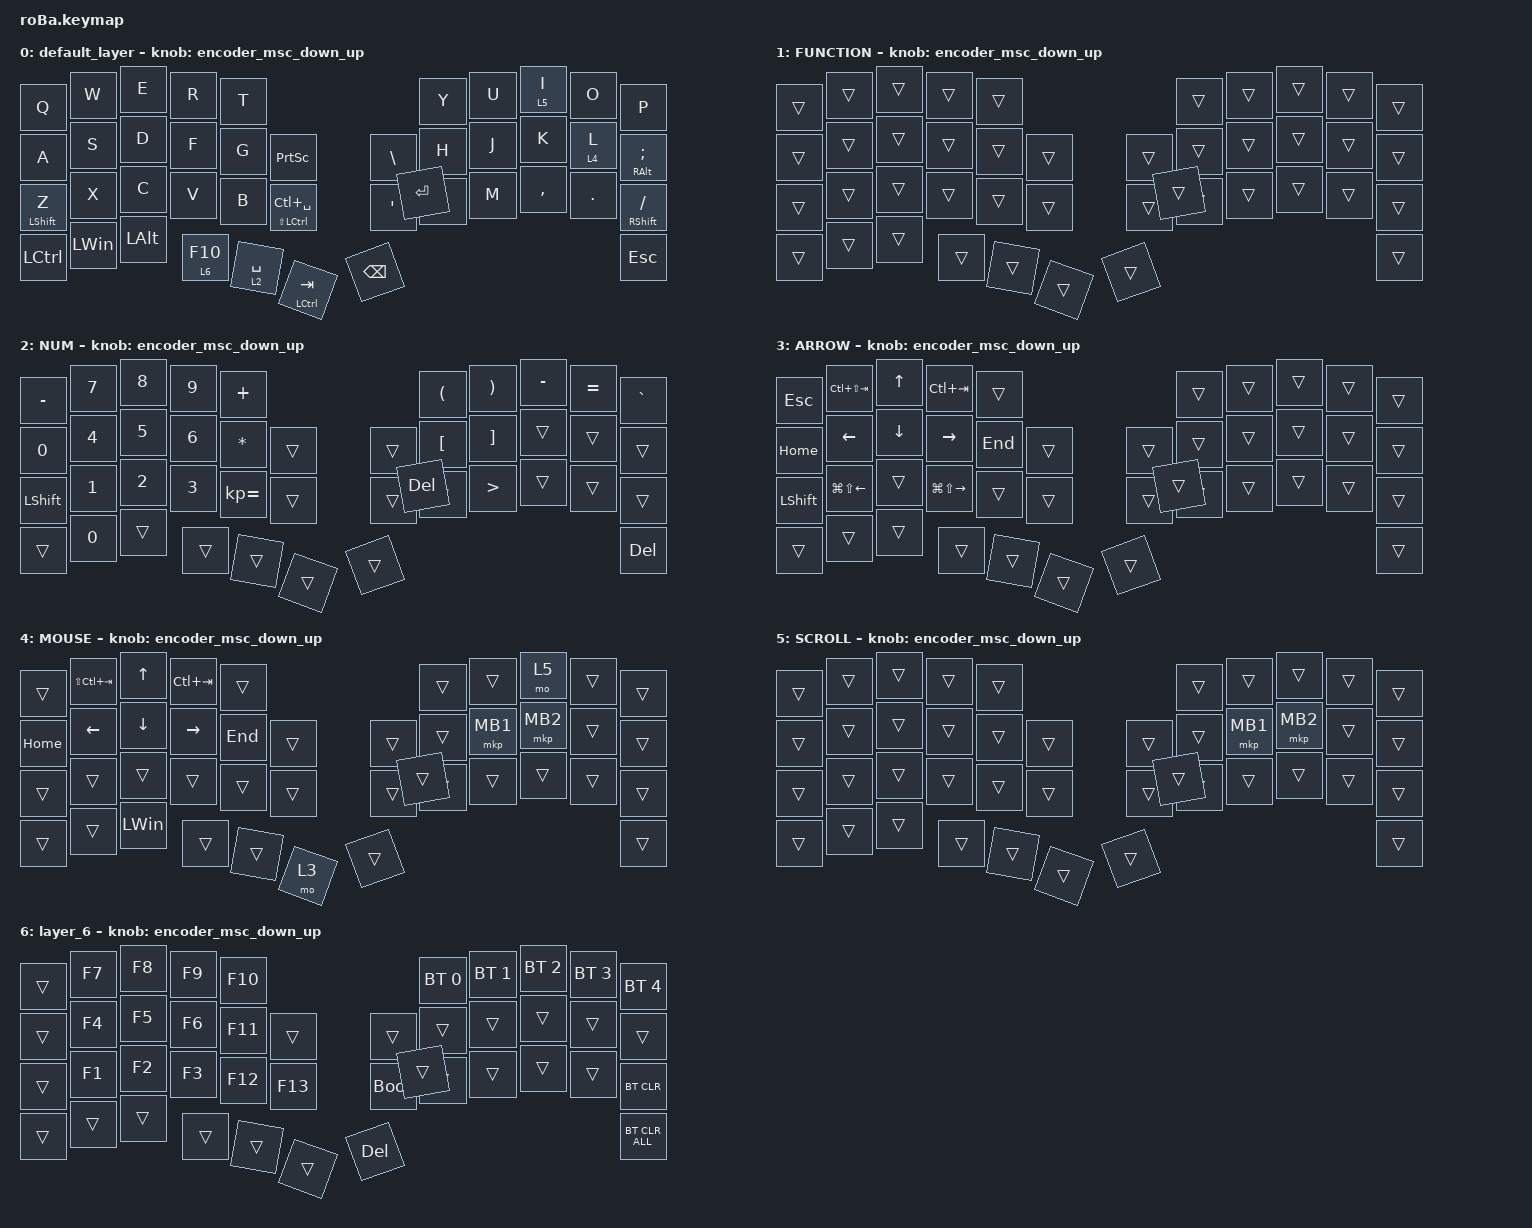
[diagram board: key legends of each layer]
#include <behaviors.dtsi>
#include <dt-bindings/zmk/bt.h>
#include <dt-bindings/zmk/keys.h>
#include <dt-bindings/zmk/pointing.h>


#define ZMK_POINTING_DEFAULT_SCRL_VAL 80

&mt {
    flavor = "balanced";
    quick-tap-ms = <0>;
};

&trackball {
    automouse-layer = <4>;
    scroll-layers = <5>;

    arrows {
        layers = <4>;
        bindings =
            <&kp RIGHT_ARROW>,
            <&kp LEFT_ARROW>,
            <&kp UP_ARROW>,
            <&kp DOWN_ARROW>;

        tick = <10>;
        wait-ms = <5>;
        tap-ms = <5>;
    };
};

/ {
    combos {
        compatible = "zmk,combos";

        combo_click: combo_click {
            timeout-ms = <50>;
            key-positions = <18 19>;
            bindings = <&mkp MB1>;
        };

        combo_rightclick: combo_rightclick {
            timeout-ms = <50>;
            key-positions = <19 20>;
            bindings = <&mkp MB2>;
        };
    };

    macros {
        to_layer_0: to_layer_0 {
            compatible = "zmk,behavior-macro-one-param";
            #binding-cells = <1>;
            bindings = <&to 0 &macro_param_1to1 &kp MACRO_PLACEHOLDER>;
            label = "TO_LAYER_0";
        };
    };

    behaviors {
        lt_to_layer_0: lt_to_layer_0 {
            compatible = "zmk,behavior-hold-tap";
            label = "LAYER_TAP_TO_0";
            bindings = <&mo>, <&to_layer_0>;

            #binding-cells = <2>;
            tapping-term-ms = <200>;
        };

        encoder_msc_down_up: encoder_msc_down_up {
            compatible = "zmk,behavior-sensor-rotate";
            label = "ENCODER_MSC_DOWN_UP";
            #sensor-binding-cells = <0>;
            bindings = <&msc SCRL_DOWN>, <&msc SCRL_UP>;

            tap-ms = <20>;
        };
    };

    keymap {
        compatible = "zmk,keymap";

        default_layer {
            bindings = <
&kp Q             &kp W         &kp E         &kp R      &kp T                                                       &kp Y      &kp U  &lt 5 I    &kp O    &kp P
&kp A             &kp S         &kp D         &kp F      &kp G        &kp PRINTSCREEN              &kp BACKSLASH     &kp H      &kp J  &kp K      &lt 4 L  &mt RIGHT_ALT SEMI
&mt LEFT_SHIFT Z  &kp X         &kp C         &kp V      &kp B        &mt LS(LCTRL) LC(SPACE)      &kp SINGLE_QUOTE  &kp N      &kp M  &kp COMMA  &kp DOT  &mt RSHIFT SLASH
&kp LCTRL         &kp LEFT_WIN  &kp LEFT_ALT  &lt 6 F10  &lt 2 SPACE  &mt LCTRL TAB                &kp BACKSPACE     &kp ENTER                             &kp ESCAPE
            >;

            sensor-bindings = <&encoder_msc_down_up>;
        };

        FUNCTION {
            bindings = <
&trans  &trans  &trans  &trans  &trans                      &trans  &trans  &trans  &trans  &trans
&trans  &trans  &trans  &trans  &trans  &trans      &trans  &trans  &trans  &trans  &trans  &trans
&trans  &trans  &trans  &trans  &trans  &trans      &trans  &trans  &trans  &trans  &trans  &trans
&trans  &trans  &trans  &trans  &trans  &trans      &trans  &trans                          &trans
            >;

            sensor-bindings = <&encoder_msc_down_up>;
        };

        NUM {
            bindings = <
&kp MINUS       &kp NUMBER_7  &kp NUMBER_8  &kp NUMBER_9  &kp PLUS                          &kp LEFT_PARENTHESIS  &kp RIGHT_PARENTHESIS  &kp MINUS  &kp EQUAL  &kp GRAVE
&kp NUMBER_0    &kp NUMBER_4  &kp NUMBER_5  &kp NUMBER_6  &kp ASTERISK  &trans      &trans  &kp LEFT_BRACKET      &kp RIGHT_BRACKET      &trans     &trans     &trans
&kp LEFT_SHIFT  &kp NUMBER_1  &kp NUMBER_2  &kp NUMBER_3  &kp KP_EQUAL  &trans      &trans  &kp LESS_THAN         &kp GREATER_THAN       &trans     &trans     &trans
&trans          &kp NUMBER_0  &trans        &trans        &trans        &trans      &trans  &kp DELETE                                                         &kp DELETE
            >;

            sensor-bindings = <&encoder_msc_down_up>;
        };

        ARROW {
            bindings = <
&kp ESCAPE      &kp LC(LS(TAB))         &kp UP_ARROW    &kp LC(TAB)              &trans                       &trans  &trans  &trans  &trans  &trans
&kp HOME        &kp LEFT_ARROW          &kp DOWN_ARROW  &kp RIGHT_ARROW          &kp END  &trans      &trans  &trans  &trans  &trans  &trans  &trans
&kp LEFT_SHIFT  &kp LG(LS(LEFT_ARROW))  &trans          &kp LG(LS(RIGHT_ARROW))  &trans   &trans      &trans  &trans  &trans  &trans  &trans  &trans
&trans          &trans                  &trans          &trans                   &trans   &trans      &trans  &trans                          &trans
            >;

            sensor-bindings = <&encoder_msc_down_up>;
        };

        MOUSE {
            bindings = <
&trans    &kp LS(LC(TAB))  &kp UP_ARROW    &kp LC(TAB)      &trans                       &trans  &trans    &mo 5     &trans  &trans
&kp HOME  &kp LEFT         &kp DOWN_ARROW  &kp RIGHT_ARROW  &kp END  &trans      &trans  &trans  &mkp MB1  &mkp MB2  &trans  &trans
&trans    &trans           &trans          &trans           &trans   &trans      &trans  &trans  &trans    &trans    &trans  &trans
&trans    &trans           &kp LEFT_WIN    &trans           &trans   &mo 3       &trans  &trans                              &trans
            >;

            sensor-bindings = <&encoder_msc_down_up>;
        };

        SCROLL {
            bindings = <
&trans  &trans  &trans  &trans  &trans                      &trans  &trans    &trans    &trans  &trans
&trans  &trans  &trans  &trans  &trans  &trans      &trans  &trans  &mkp MB1  &mkp MB2  &trans  &trans
&trans  &trans  &trans  &trans  &trans  &trans      &trans  &trans  &trans    &trans    &trans  &trans
&trans  &trans  &trans  &trans  &trans  &trans      &trans  &trans                              &trans
            >;

            sensor-bindings = <&encoder_msc_down_up>;
        };

        layer_6 {
            bindings = <
&trans  &kp F7  &kp F8  &kp F9  &kp F10                            &bt BT_SEL 0  &bt BT_SEL 1  &bt BT_SEL 2  &bt BT_SEL 3  &bt BT_SEL 4
&trans  &kp F4  &kp F5  &kp F6  &kp F11  &trans       &trans       &trans        &trans        &trans        &trans        &trans
&trans  &kp F1  &kp F2  &kp F3  &kp F12  &kp F13      &bootloader  &trans        &trans        &trans        &trans        &bt BT_CLR
&trans  &trans  &trans  &trans  &trans   &trans       &kp DELETE   &trans                                                  &bt BT_CLR_ALL
            >;

            sensor-bindings = <&encoder_msc_down_up>;
        };
    };
};
